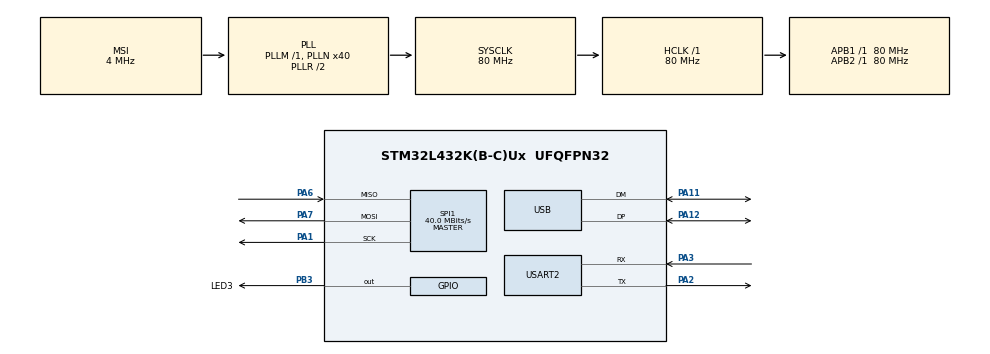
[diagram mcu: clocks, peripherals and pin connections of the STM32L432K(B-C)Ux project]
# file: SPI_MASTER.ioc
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Mcu.Family=STM32L4
Mcu.Name=STM32L432K(B-C)Ux
Mcu.Package=UFQFPN32
NVIC.PriorityGroup=NVIC_PRIORITYGROUP_4
NVIC.SPI1_IRQn=true\:0\:0\:false\:true\:true\:2\:true\:true
NVIC.TIM2_IRQn=true\:0\:0\:false\:true\:true\:1\:true\:true
NVIC.USART2_IRQn=true\:0\:0\:false\:true\:true\:3\:true\:true
PA0.Mode=HSE-External-Clock-Source-for-LittleOrca
PA0.Signal=RCC_CK_IN
PA1.Mode=Full_Duplex_Master
PA1.Signal=SPI1_SCK
PA11.Mode=Device
PA11.Signal=USB_DM
PA12.Mode=Device
PA12.Signal=USB_DP
PA13\ (JTMS-SWDIO).Mode=Serial_Wire
PA13\ (JTMS-SWDIO).Signal=SYS_JTMS-SWDIO
PA14\ (JTCK-SWCLK).Mode=Serial_Wire
PA14\ (JTCK-SWCLK).Signal=SYS_JTCK-SWCLK
PA2.Mode=Asynchronous
PA2.Signal=USART2_TX
PA3.Mode=Asynchronous
PA3.Signal=USART2_RX
PA6.Mode=Full_Duplex_Master
PA6.Signal=SPI1_MISO
PA7.Mode=Full_Duplex_Master
PA7.Signal=SPI1_MOSI
PB3\ (JTDO-TRACESWO).GPIO_Label=LED3
PB3\ (JTDO-TRACESWO).Signal=GPIO_Output
ProjectManager.HeapSize=0x200
ProjectManager.StackSize=0x400
ProjectManager.TargetToolchain=STM32CubeIDE
RCC.ADCFreq_Value=48000000
RCC.AHBFreq_Value=80000000
RCC.APB1Freq_Value=80000000
RCC.APB1TimFreq_Value=80000000
RCC.APB2Freq_Value=80000000
RCC.APB2TimFreq_Value=80000000
RCC.CortexFreq_Value=80000000
RCC.HCLKFreq_Value=80000000
RCC.HSE_VALUE=8000000
RCC.HSI48_VALUE=48000000
RCC.HSI_VALUE=16000000
RCC.LSE_VALUE=32768
RCC.MSI_VALUE=4000000
RCC.PLLN=40
RCC.PLLSAI1N=24
RCC.SYSCLKFreq_VALUE=80000000
RCC.SYSCLKSource=RCC_SYSCLKSOURCE_PLLCLK
RCC.USBFreq_Value=48000000
RCC.VCOOutputFreq_Value=160000000
SPI1.CalculateBaudRate=40.0 MBits/s
SPI1.Direction=SPI_DIRECTION_2LINES
SPI1.Mode=SPI_MODE_MASTER
SPI1.VirtualType=VM_MASTER
TIM2.AutoReloadPreload=TIM_AUTORELOAD_PRELOAD_ENABLE
TIM2.Period=799
TIM2.Prescaler=79
USART2.VirtualMode-Asynchronous=VM_ASYNC
VP_TIM2_VS_ClockSourceINT.Mode=Internal
board=custom

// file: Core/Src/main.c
/* USER CODE BEGIN Header */
/**
 ******************************************************************************
 * @file           : main.c
 * @brief          : Main program body
 ******************************************************************************
 */
/* USER CODE END Header */
#include "main.h"
#include "spi.h"
#include "tim.h"
#include "usart.h"
#include "usb.h"
#include "gpio.h"

/* USER CODE BEGIN Includes */
#include <stdio.h>
/* USER CODE END Includes */

/* USER CODE BEGIN PM */
#ifdef __GNUC__
#define PUTCHAR_PROTOTYPE int __io_putchar(int ch)  // GK  __attribute__((unused)) removes warning
#else
#define PUTCHAR_PROTOTYPE int fputc(int ch, FILE *f)
#endif /* __GNUC__ */

/* USER CODE END PM */

/* USER CODE BEGIN PV */

app_ctx_t app = { 0 }; // Initiate Application structure

/* USER CODE END PV */

void SystemClock_Config(void);
static void MX_NVIC_Init(void);

/* USER CODE BEGIN 0 */
/**
 * @brief  Retargets the C library printf function to the USART.
 * @param  None
 * @retval None
 */
PUTCHAR_PROTOTYPE {
	HAL_UART_Transmit(&huart2, (uint8_t*) &ch, 1, HAL_MAX_DELAY);
	return ch;
}

frame_struct_t frame;
#define SLAVE_ADDRESS 0X14
/* USER CODE END 0 */

int main(void) {

	/* MCU Configuration--------------------------------------------------------*/

	/* Reset of all peripherals, Initializes the Flash interface and the Systick. */
	HAL_Init();

	/* Configure the system clock */
	SystemClock_Config();

	/* Initialize all configured peripherals */
	MX_GPIO_Init();
	MX_USART2_UART_Init();
	MX_USB_PCD_Init();
	MX_SPI1_Init();
	MX_TIM2_Init();

	/* Initialize interrupts */
	MX_NVIC_Init();
	/* USER CODE BEGIN 2 */
	//Init_Mili_Sec_Timer();
	/* USER CODE END 2 */

	/* Infinite loop */
	while (1) {

		/* USER CODE BEGIN 3 */
		if ((app.uart.flags.process_usart) && (!app.uart.lock)) // check for if receive commands on serail
				{
			app.uart.lock = true;
			app.uart.flags.process_usart = false;  // disable the process flag
			// store them as there might be new request in queue
			app.uart.cmd_fom_serial = app.uart.rec_buff[CMD_BYTE];
			app.uart.sensor_form_serial = app.uart.rec_buff[SENSOR_BYTE];
			app.uart.data = app.uart.rec_buff[DATA_BYTE];
			//  memset(app.uart.rec_buff,0,sizeof(app.uart.rec_buff));
			app.switch_state = UART_RX;
		}

		switch (app.switch_state) {
		case REST:
			break;
		case UART_RX: // prepare for spi
			app.spi.tx_buff[SYNC_BYTE_1] = SLAVE_ADDRESS;
			app.spi.tx_buff[CMD_BYTE] = app.uart.cmd_fom_serial;
			app.spi.tx_buff[SENSOR_BYTE] = app.uart.sensor_form_serial;
			app.spi.tx_buff[DATA_BYTE] = app.uart.data;
			app.switch_state = SPI_TX;
			break;
		case SPI_TX:   // prepare for outbound spi
			HAL_SPI_Transmit_IT(&hspi1, (uint8_t*) &app.spi.tx_buff,
					sizeof(frame));  // send data on SPI
			app.switch_state = SPI_RX;
			break;
		case SPI_RX:   // prepare for inbound spi

			HAL_SPI_Receive_IT(&hspi1, (uint8_t*) &app.spi.rec_buff,
					sizeof(frame));  // get spi in interrupt
			switch (app.spi.rec_buff[DATA_BYTE]) {
			case OK:
				printf("OK/r/n");  // respond  status of led changed
				break;
			case VAL:
				printf("Status of Led is %d", app.spi.rec_buff[DATA_BYTE_2]); // send status of led
				break;
			case TEMPR:
				printf("Temperature is %d",
						(int) app.spi.rec_buff[DATA_BYTE_2]);
				break;
			default:
				printf("SPI CMD ERROR");
				break;
			}
			app.uart.lock = false;
			app.switch_state = REST;
			break;
		default:
			break;

		}

		if (!app.led_timer) {
			app.led_timer = 600;
			GREEN_LED_TOGGLE
			// heart beat of master if its solid  its error state // WD might be included
		}

	}
	/* USER CODE END 3 */
}

void SystemClock_Config(void) {
	RCC_OscInitTypeDef RCC_OscInitStruct = { 0 };
	RCC_ClkInitTypeDef RCC_ClkInitStruct = { 0 };
	RCC_PeriphCLKInitTypeDef PeriphClkInit = { 0 };

	/** Initializes the RCC Oscillators according to the specified parameters
	 * in the RCC_OscInitTypeDef structure.
	 */
	RCC_OscInitStruct.OscillatorType = RCC_OSCILLATORTYPE_MSI;
	RCC_OscInitStruct.MSIState = RCC_MSI_ON;
	RCC_OscInitStruct.MSICalibrationValue = 0;
	RCC_OscInitStruct.MSIClockRange = RCC_MSIRANGE_6;
	RCC_OscInitStruct.PLL.PLLState = RCC_PLL_ON;
	RCC_OscInitStruct.PLL.PLLSource = RCC_PLLSOURCE_MSI;
	RCC_OscInitStruct.PLL.PLLM = 1;
	RCC_OscInitStruct.PLL.PLLN = 40;
	RCC_OscInitStruct.PLL.PLLP = RCC_PLLP_DIV7;
	RCC_OscInitStruct.PLL.PLLQ = RCC_PLLQ_DIV2;
	RCC_OscInitStruct.PLL.PLLR = RCC_PLLR_DIV2;
	if (HAL_RCC_OscConfig(&RCC_OscInitStruct) != HAL_OK) {
		Error_Handler();
	}
	/** Initializes the CPU, AHB and APB buses clocks
	 */
	RCC_ClkInitStruct.ClockType = RCC_CLOCKTYPE_HCLK | RCC_CLOCKTYPE_SYSCLK
			| RCC_CLOCKTYPE_PCLK1 | RCC_CLOCKTYPE_PCLK2;
	RCC_ClkInitStruct.SYSCLKSource = RCC_SYSCLKSOURCE_PLLCLK;
	RCC_ClkInitStruct.AHBCLKDivider = RCC_SYSCLK_DIV1;
	RCC_ClkInitStruct.APB1CLKDivider = RCC_HCLK_DIV1;
	RCC_ClkInitStruct.APB2CLKDivider = RCC_HCLK_DIV1;

	if (HAL_RCC_ClockConfig(&RCC_ClkInitStruct, FLASH_LATENCY_4) != HAL_OK) {
		Error_Handler();
	}
	PeriphClkInit.PeriphClockSelection = RCC_PERIPHCLK_USART2
			| RCC_PERIPHCLK_USB;
	PeriphClkInit.Usart2ClockSelection = RCC_USART2CLKSOURCE_PCLK1;
	PeriphClkInit.UsbClockSelection = RCC_USBCLKSOURCE_PLLSAI1;
	PeriphClkInit.PLLSAI1.PLLSAI1Source = RCC_PLLSOURCE_MSI;
	PeriphClkInit.PLLSAI1.PLLSAI1M = 1;
	PeriphClkInit.PLLSAI1.PLLSAI1N = 24;
	PeriphClkInit.PLLSAI1.PLLSAI1P = RCC_PLLP_DIV7;
	PeriphClkInit.PLLSAI1.PLLSAI1Q = RCC_PLLQ_DIV2;
	PeriphClkInit.PLLSAI1.PLLSAI1R = RCC_PLLR_DIV2;
	PeriphClkInit.PLLSAI1.PLLSAI1ClockOut = RCC_PLLSAI1_48M2CLK;
	if (HAL_RCCEx_PeriphCLKConfig(&PeriphClkInit) != HAL_OK) {
		Error_Handler();
	}
	/** Configure the main internal regulator output voltage
	 */
	if (HAL_PWREx_ControlVoltageScaling(PWR_REGULATOR_VOLTAGE_SCALE1)
			!= HAL_OK) {
		Error_Handler();
	}
}

/**
 * @brief NVIC Configuration.
 * @retval None
 */
static void MX_NVIC_Init(void) {
	/* TIM2_IRQn interrupt configuration */
	HAL_NVIC_SetPriority(TIM2_IRQn, 0, 0);
	HAL_NVIC_EnableIRQ(TIM2_IRQn);
	/* SPI1_IRQn interrupt configuration */
	HAL_NVIC_SetPriority(SPI1_IRQn, 0, 0);
	HAL_NVIC_EnableIRQ(SPI1_IRQn);
	/* USART2_IRQn interrupt configuration */
	HAL_NVIC_SetPriority(USART2_IRQn, 0, 0);
	HAL_NVIC_EnableIRQ(USART2_IRQn);
}

void Error_Handler(void) {
	__disable_irq();
	while (1) {
	}
}

/************************ (C) COPYRIGHT STMicroelectronics *****END OF FILE****/
